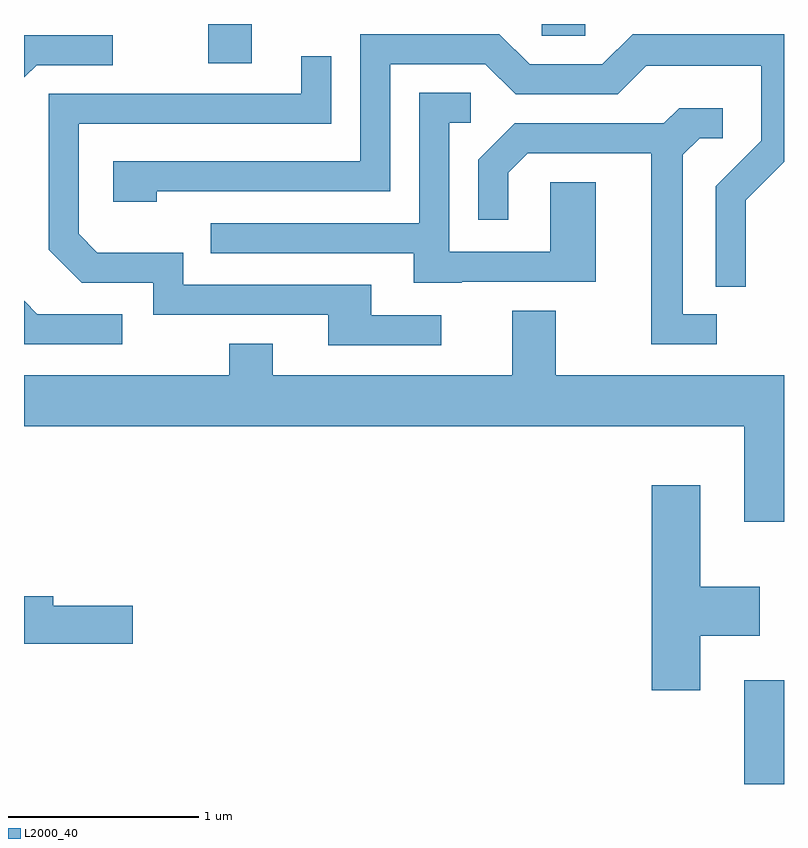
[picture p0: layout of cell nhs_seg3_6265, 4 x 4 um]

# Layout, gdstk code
import gdstk
lib = gdstk.Library(unit=1e-6, precision=1e-09)
def R(c, l, rs):  # rectangles x0, y0, x1, y1
    for r in rs: c.add(gdstk.rectangle(r[:2], r[2:], *l))
def P(c, l, *ps):  # polygons
    for p in ps: c.add(gdstk.Polygon(p, *l))
L2000_40 = (2000, 40)

nhs_seg3_6265 = lib.new_cell('nhs_seg3_6265')
R(nhs_seg3_6265, L2000_40, [(373.401,1141.892,373.611,1142.439), (370.581,1145.686,370.809,1145.892), (372.336,1145.831,372.564,1145.892)])
P(nhs_seg3_6265, L2000_40, [(373.409,1144.964),(373.611,1145.166),(373.611,1145.839),(372.814,1145.839),(372.654,1145.679),(372.272,1145.679),(372.112,1145.839),(371.381,1145.839),(371.381,1145.169),(370.081,1145.169),(370.081,1144.956),(370.309,1144.956),(370.309,1145.011),(371.539,1145.011),(371.539,1145.681),(372.039,1145.681),(372.199,1145.521),(372.737,1145.521),(372.887,1145.671),(373.491,1145.671),(373.491,1145.277),(373.251,1145.037),(373.251,1144.508),(373.409,1144.508)],
  [(369.677,1145.676),(370.078,1145.676),(370.078,1145.834),(369.611,1145.834),(369.611,1145.611)],
  [(371.808,1144.359),(371.439,1144.359),(371.439,1144.519),(370.449,1144.519),(370.449,1144.689),(369.997,1144.689),(369.899,1144.787),(369.899,1145.366),(371.229,1145.366),(371.229,1145.723),(371.071,1145.723),(371.071,1145.524),(369.741,1145.524),(369.741,1144.704),(369.914,1144.531),(370.291,1144.531),(370.291,1144.361),(371.211,1144.361),(371.211,1144.201),(371.808,1144.201)],
  [(371.915,1144.536),(372.619,1144.536),(372.619,1145.059),(372.381,1145.059),(372.381,1144.694),(371.849,1144.694),(371.849,1145.371),(371.963,1145.371),(371.963,1145.529),(371.691,1145.529),(371.691,1144.844),(370.593,1144.844),(370.593,1144.686),(371.661,1144.686),(371.661,1144.531),(371.915,1144.531)],
  [(373.258,1144.364),(373.079,1144.364),(373.079,1145.204),(373.167,1145.291),(373.288,1145.291),(373.288,1145.449),(373.059,1145.449),(372.979,1145.369),(372.194,1145.369),(372.001,1145.177),(372.001,1144.863),(372.159,1144.863),(372.159,1145.109),(372.262,1145.211),(372.911,1145.211),(372.911,1144.206),(373.258,1144.206)],
  [(370.128,1144.364),(369.682,1144.364),(369.611,1144.435),(369.611,1144.206),(370.128,1144.206)],
  [(373.611,1144.044),(372.409,1144.044),(372.409,1144.384),(372.181,1144.384),(372.181,1144.044),(370.919,1144.044),(370.919,1144.209),(370.691,1144.209),(370.691,1144.044),(369.611,1144.044),(369.611,1143.776),(373.401,1143.776),(373.401,1143.271),(373.611,1143.271)],
  [(373.169,1142.671),(373.484,1142.671),(373.484,1142.929),(373.169,1142.929),(373.169,1143.464),(372.916,1143.464),(372.916,1142.386),(373.169,1142.386)],
  [(370.184,1142.829),(369.764,1142.829),(369.764,1142.879),(369.611,1142.879),(369.611,1142.631),(370.184,1142.631)])

lib.write_gds('nhs_seg3_6265.gds')
